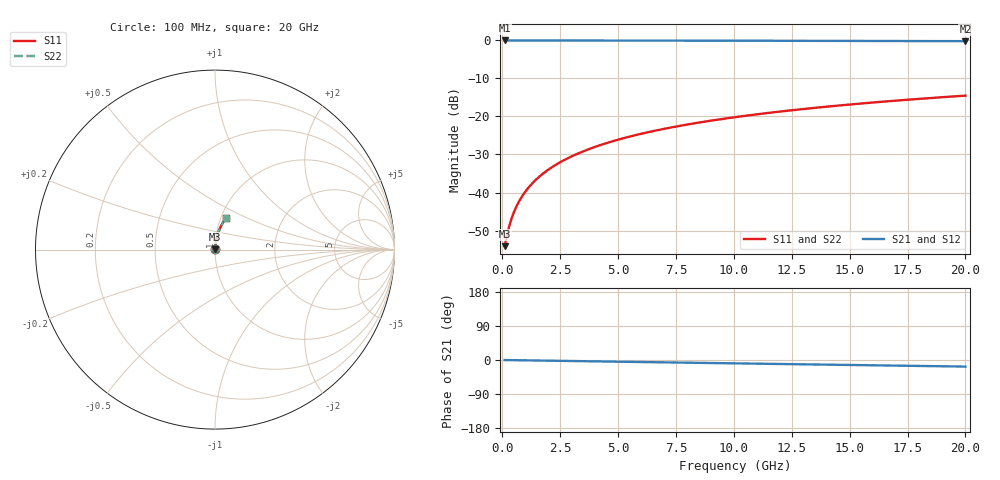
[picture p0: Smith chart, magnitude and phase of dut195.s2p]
! Touchstone file exported from HFSS 2026.1.0
!  File:  C:/ffzhzh/LocalFiles/Ansys_Project_Files/temp_train_BSMRDL_195_1782987627_41620.aedt
!  Generated:  06:21:42 PM Jul  2, 2026
!  Design:  BSMRDL
!  Project:  temp_train_BSMRDL_195_1782987627_41620
! Variables:
!  h_bsmrdl = 3.1um
!  h_ox = 20um
!  h_rdl = 5um
!  h_sub = 80um
!  h_tmrdl = 5um
!  h_tsv = 80um
!  h_via = 3um
!  l_bsmrdl = 211.92um
!  l_sub = 611.92um
!  l_tmrdl = 200um
!  m_sub = 200um
!  pitch = 41.35um
!  r_tsv = 6um
!  s_tmrdl = 10um
!  w_bsmrdl = 16.85um
!  w_sub = 500um
!  w_tmrdl = 12um
!  x_tsv_center1 = 206um
!  x_tsv_center2 = 434.77um
!  x_tsv_center3 = 646.77um
!  x_tsv_center4 = 875.54um
!  x_tsv_center5 = 1087.54um
!  x_tsv_center6 = 1316.31um
# GHz S MA R 50.000000
! Terminal data exported
! Port[1] = BSM_RDL1_1_T1
! Port[2] = BSM_RDL1_1_T2
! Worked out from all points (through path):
!   200 points, 100 MHz to 20 GHz, reference 50 ohm
!   highest |S21| = -0.01 dB at 100 MHz (marker M1); lowest = -0.2 dB at 20 GHz (marker M2)
!   group delay of S21, straight-line fit = 2.41 ps
!   lowest |S11| = -54.1 dB at 100 MHz (marker M3), VSWR 1.00, Z = 50.2 + j0.107 ohm
!   |S11| at or under -10 dB: start of sweep to end of sweep
!   |S22| runs from -54.1 to -14.5 dB; largest |S21 - S12| = 3.1e-15
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0.1  0.00197 32.8  0.9983 -0.1  0.9983 -0.1  0.00197 32.8
! Gamma 0 0 0 0
! Port Impedance 50 0 50 0
0.2  0.002717 51.3  0.9983 -0.2  0.9983 -0.2  0.002717 51.3
0.3  0.00361 60.9  0.9983 -0.3  0.9983 -0.3  0.00361 60.9
0.4  0.004548 66.4  0.9982 -0.4  0.9982 -0.4  0.004548 66.4
0.5  0.0055 70.0  0.9981 -0.5  0.9981 -0.5  0.0055 70.0
0.6  0.006457 72.5  0.9981 -0.5  0.9981 -0.5  0.006457 72.5
0.8  0.00838 75.9  0.998 -0.7  0.998 -0.7  0.00838 75.9
1.1  0.01128 78.8  0.9979 -1.0  0.9979 -1.0  0.01128 78.8
1.3  0.01323 80.0  0.9979 -1.2  0.9979 -1.2  0.01323 80.0
1.6  0.01616 81.2  0.9978 -1.4  0.9978 -1.4  0.01616 81.2
2.1  0.02107 82.3  0.9976 -1.9  0.9976 -1.9  0.02107 82.3
2.7  0.02697 82.8  0.9974 -2.4  0.9974 -2.4  0.02697 82.8
3.5  0.03483 83.0  0.997 -3.1  0.997 -3.1  0.03483 83.0
4.2  0.04169 82.8  0.9966 -3.8  0.9966 -3.8  0.04169 82.8
5  0.0495 82.5  0.9961 -4.5  0.9961 -4.5  0.0495 82.5
5.9  0.05825 81.9  0.9955 -5.3  0.9955 -5.3  0.05825 81.9
6.8  0.06694 81.3  0.9947 -6.1  0.9947 -6.1  0.06694 81.3
8.3  0.0813 80.2  0.9933 -7.4  0.9933 -7.4  0.0813 80.2
10.1  0.09832 78.8  0.9913 -8.9  0.9913 -8.9  0.09832 78.8
13.4  0.1289 76.2  0.9871 -11.8  0.9871 -11.8  0.1289 76.2
16.7  0.1588 73.5  0.9821 -14.6  0.9821 -14.6  0.1588 73.5
20  0.1879 70.9  0.9765 -17.4  0.9765 -17.4  0.1879 70.9
